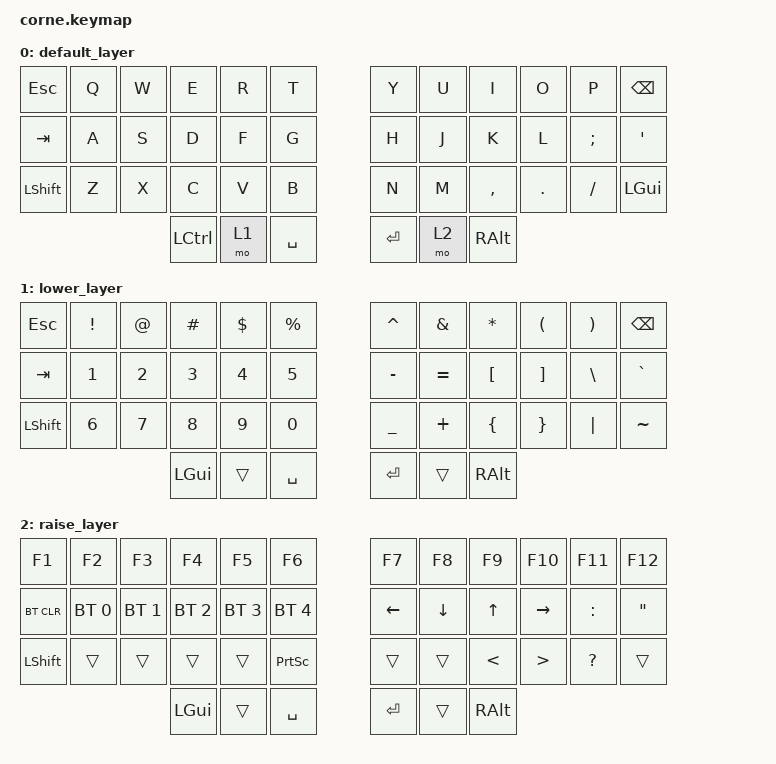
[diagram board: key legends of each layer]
/*
 * Copyright (c) 2020 The ZMK Contributors
 *
 * SPDX-License-Identifier: MIT
 */

#include <behaviors.dtsi>
#include <dt-bindings/zmk/keys.h>
#include <dt-bindings/zmk/bt.h>

/ {
        keymap {
                compatible = "zmk,keymap";

                default_layer {
// -----------------------------------------------------------------------------------------
// |  ESC |  Q  |  W  |  E   |  R  |  T  |   |  Y  |  U   |  I  |  O  |  P  | BSPC |
// |  TAB |  A  |  S  |  D   |  F  |  G  |   |  H  |  J   |  K  |  L  |  ;  |  '   |
// | SHFT |  Z  |  X  |  C   |  V  |  B  |   |  N  |  M   |  ,  |  .  |  /  | GUI  |
//                    | CTRL | LWR | SPC |   | ENT | RSE  | ALT |
                        bindings = <
   &kp ESC   &kp Q &kp W &kp E &kp R &kp T   &kp Y &kp U  &kp I     &kp O   &kp P    &kp BSPC
   &kp TAB   &kp A &kp S &kp D &kp F &kp G   &kp H &kp J  &kp K     &kp L   &kp SEMI &kp SQT
   &kp LSHFT &kp Z &kp X &kp C &kp V &kp B   &kp N &kp M  &kp COMMA &kp DOT &kp FSLH &kp LGUI
                  &kp LCTRL &mo 1 &kp SPACE   &kp RET &mo 2 &kp RALT
                        >;
                };
                lower_layer {
// -----------------------------------------------------------------------------------------
// |  ESC |  !  |  @  |  #  |  $  |  %  |   |  ^  |  &  |  *  |  (  |  )  | BSPC |
// |  TAB | BT1 | BT2 | BT3 | BT4 | BT5 |   |  -  |  =  |  [  |  ]  |  \  |  `   |
// | SHFT |     |     |     |     |     |   |  _  |  +  |  {  |  }  | "|" |  ~   |
//                    | GUI |     | SPC |   | ENT |     | ALT |
                        bindings = <
   &kp ESC    &kp EXCL     &kp AT       &kp HASH     &kp DLLR     &kp PRCNT   &kp CARET   &kp AMPS   &kp ASTRK   &kp LPAR   &kp RPAR   &kp BSPC
   &kp TAB    &kp N1       &kp N2       &kp N3       &kp N4       &kp N5      &kp MINUS   &kp EQUAL  &kp LBKT    &kp RBKT   &kp BSLH   &kp GRAVE
   &kp LSHFT  &kp N6       &kp N7       &kp N8       &kp N9       &kp N0      &kp UNDER   &kp PLUS   &kp LBRC    &kp RBRC   &kp PIPE   &kp TILDE
                                        &kp LGUI     &trans       &kp SPACE   &kp RET     &trans     &kp RALT
                        >;
                };

                raise_layer {
// -----------------------------------------------------------------------------------------
// |  F1   | F2  | F3  | F4  | F5  |      F6      |   | F7   | F8   | F9 |  F10  | F11  | F12  |
// | BTCLR | BT1 | BT2 | BT3 | BT4 |      BT5     |   | LEFT | DOWN | UP | RIGHT |  :  |  "   |
// | SHFT |     |     |     |      | PRINT_SCREEN |   |      |      |  <  |  >  |   ?  |  ~   |
//                    | GUI |      |     SPACE    |   | ENT |     | ALT |
                        bindings = <
   &kp  F1    &kp F2       &kp F3       &kp F4       &kp F5       &kp F6            &kp F7    &kp F8    &kp F9    &kp F10  &kp F11     &kp F12
   &bt BT_CLR &bt BT_SEL 0 &bt BT_SEL 1 &bt BT_SEL 2 &bt BT_SEL 3 &bt BT_SEL 4      &kp LEFT  &kp DOWN  &kp UP    &kp RIGHT &kp COLON  &kp DQT
   &kp LSHFT  &trans       &trans       &trans       &trans       &kp PSCRN            &trans    &trans    &kp LT    &kp GT    &kp QMARK  &trans
                                        &kp LGUI     &trans       &kp SPACE         &kp RET   &trans    &kp RALT
                        >;
                };
        };
};
